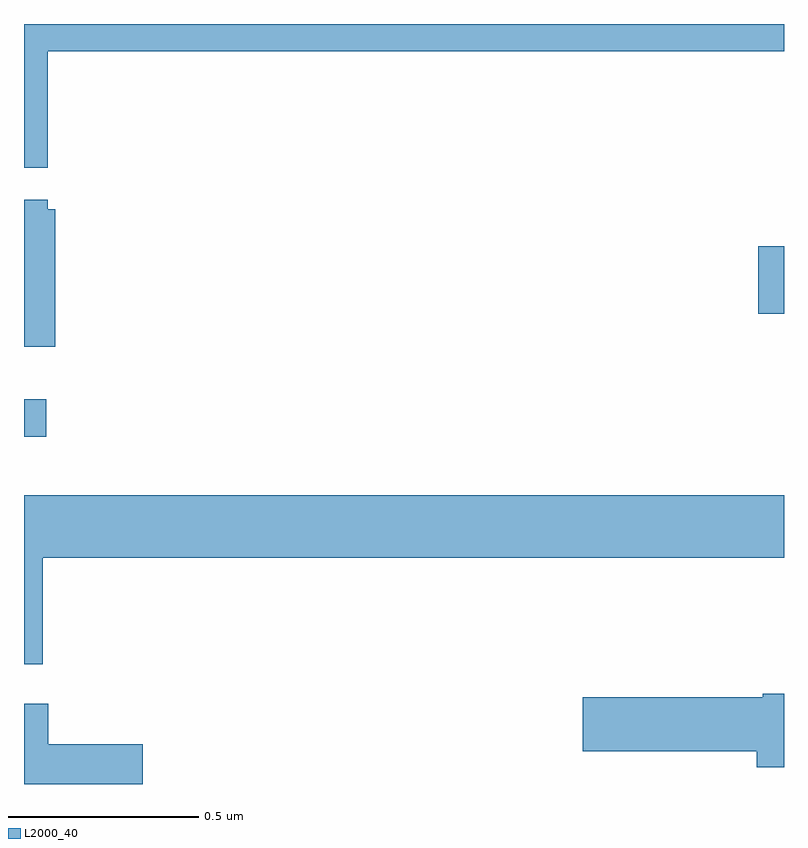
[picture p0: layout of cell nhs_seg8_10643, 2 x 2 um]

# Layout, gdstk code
import gdstk
lib = gdstk.Library(unit=1e-6, precision=1e-09)
def R(c, l, rs):  # rectangles x0, y0, x1, y1
    for r in rs: c.add(gdstk.rectangle(r[:2], r[2:], *l))
def P(c, l, *ps):  # polygons
    for p in ps: c.add(gdstk.Polygon(p, *l))
L2000_40 = (2000, 40)

nhs_seg8_10643 = lib.new_cell('nhs_seg8_10643')
R(nhs_seg8_10643, L2000_40, [(252,1120.814,252.058,1120.912), (253.932,1121.137,254,1121.315)])
P(nhs_seg8_10643, L2000_40, [(252.062,1121.828),(254,1121.828),(254,1121.9),(252,1121.9),(252,1121.522),(252.062,1121.522)],
  [(252.082,1121.412),(252.063,1121.412),(252.063,1121.437),(252,1121.437),(252,1121.051),(252.082,1121.051)],
  [(252.049,1120.496),(254,1120.496),(254,1120.66),(252,1120.66),(252,1120.215),(252.049,1120.215)],
  [(254,1120.138),(253.944,1120.138),(253.944,1120.128),(253.47,1120.128),(253.47,1119.986),(253.928,1119.986),(253.928,1119.944),(254,1119.944)],
  [(252.313,1120.005),(252.064,1120.005),(252.064,1120.111),(252,1120.111),(252,1119.9),(252.313,1119.9)])

lib.write_gds('nhs_seg8_10643.gds')
